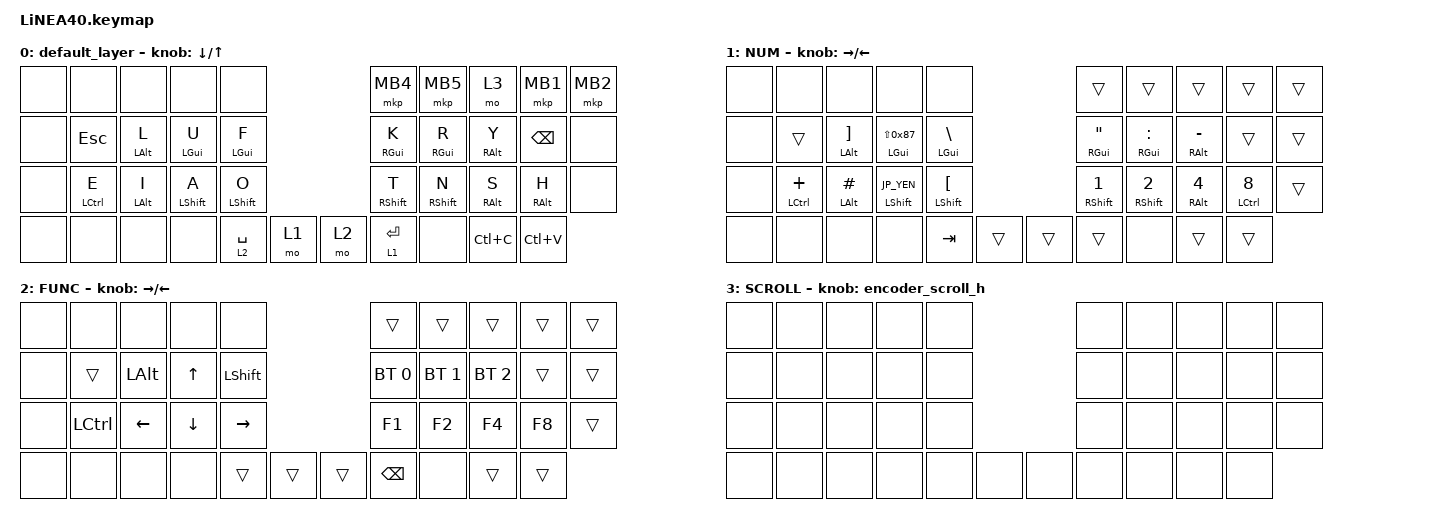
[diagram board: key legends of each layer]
// 定義を呼んでくる

#define ZMK_POINTING_DEFAULT_SCRL_VAL 5

#include <dt-bindings/zmk/mouse.h>
#include <input/processors.dtsi>
#include <behaviors.dtsi>
#include <dt-bindings/zmk/bt.h>
#include <dt-bindings/zmk/keys.h>
#include <dt-bindings/zmk/pointing.h>

#define BASE    0
#define NUM     1
#define FUNC    2
#define SCROLL  3

// US とJISの違いを定義しておく

#define JP_DQUOTE       AT                // "
#define JP_AMPERSAND    CARET             // &
#define JP_QUOTE        AMPERSAND         // '
#define JP_EQUAL        UNDER             // =
#define JP_CARET        EQUAL             // ^
#define JP_YEN          0x89              // ¥
#define JP_PLUS         COLON             // +
#define JP_TILDE        PLUS              // ~
#define JP_PIPE         LS(0x89)          // |
#define JP_AT           LEFT_BRACKET      // @
#define JP_COLON        SINGLE_QUOTE      // :
#define JP_ASTERISK     DOUBLE_QUOTES     // *
#define JP_BACKQUOTE    LEFT_BRACE        // `
#define JP_UNDERSCORE   LS(0x87)          // _
#define JP_LBRACKET     RIGHT_BRACKET     // [
#define JP_RBRACKET     BACKSLASH         // ]
#define JP_LPAREN       ASTERISK          // (
#define JP_RPAREN       LEFT_PARENTHESIS  // )
#define JP_LBRACE       RIGHT_BRACE       // {
#define JP_RBRACE       PIPE              // }
#define JP_KANA         LANGUAGE_1        // かな
#define JP_EISU         LANGUAGE_2        // 英数
#define JP_HANZEN       GRAVE             // 半角/全角

// 特殊入力の挙動を調整できる

&mt {
    flavor = "tap-preferred";
    tapping-term-ms = <225>;
    quick-tap-ms = <200>;
    require-prior-idle-ms = <150>;
};

&lt {
    flavor = "balanced";
    tapping-term-ms = <175>;
    quick-tap-ms = <200>;
};

/ {
    combos {
        compatible = "zmk,combos";

        combo_sUnlock {
            timeout-ms = <100>;
            require-prior-idle-ms = <150>;
            key-positions = <9 40>;
            bindings = <&studio_unlock>;
        };

        combo_Henkan {
            timeout-ms = <100>;
            require-prior-idle-ms = <150>;
            bindings = <&kp INT_HENKAN>;
            key-positions = <25 26 27>;
            layers = <0>;
        };

        combo_muHenkan {
            timeout-ms = <100>;
            require-prior-idle-ms = <150>;
            bindings = <&kp INT_MUHENKAN>;
            key-positions = <22 23 24>;
            layers = <0>;
        };

        combo_b {
            timeout-ms = <100>;
            require-prior-idle-ms = <150>;
            bindings = <&kp B>;
            key-positions = <28 25>;
            layers = <0>;
        };

        combo_c {
            timeout-ms = <100>;
            require-prior-idle-ms = <150>;
            bindings = <&kp C>;
            key-positions = <22 23>;
            layers = <0>;
        };

        combo_d {
            timeout-ms = <100>;
            require-prior-idle-ms = <150>;
            bindings = <&kp D>;
            key-positions = <25 27>;
            layers = <0>;
        };

        combo_g {
            timeout-ms = <100>;
            require-prior-idle-ms = <150>;
            bindings = <&kp G>;
            key-positions = <15 16>;
            layers = <0>;
        };

        combo_j {
            timeout-ms = <100>;
            require-prior-idle-ms = <150>;
            bindings = <&kp J>;
            key-positions = <28 17>;
            layers = <0>;
        };

        combo_m {
            timeout-ms = <100>;
            require-prior-idle-ms = <150>;
            bindings = <&kp M>;
            key-positions = <26 27>;
            layers = <0>;
        };

        combo_p {
            timeout-ms = <100>;
            require-prior-idle-ms = <150>;
            bindings = <&kp P>;
            key-positions = <28 15>;
            layers = <0>;
        };

        combo_q {
            timeout-ms = <100>;
            require-prior-idle-ms = <150>;
            bindings = <&kp Q>;
            key-positions = <14 13>;
            layers = <0>;
        };

        combo_v {
            timeout-ms = <100>;
            require-prior-idle-ms = <150>;
            bindings = <&kp V>;
            key-positions = <23 24>;
            layers = <0>;
        };

        combo_w {
            timeout-ms = <100>;
            require-prior-idle-ms = <150>;
            bindings = <&kp W>;
            key-positions = <17 16>;
            layers = <0>;
        };

        combo_x {
            timeout-ms = <100>;
            require-prior-idle-ms = <150>;
            bindings = <&kp X>;
            key-positions = <13 12>;
            layers = <0>;
        };

        combo_z {
            timeout-ms = <100>;
            require-prior-idle-ms = <150>;
            bindings = <&kp Z>;
            key-positions = <27 28>;
            layers = <0>;
        };

        combo_comma {
            timeout-ms = <100>;
            require-prior-idle-ms = <150>;
            bindings = <&kp COMMA>;
            key-positions = <25 37>;
            layers = <0 1>;
        };

        combo_dot {
            timeout-ms = <100>;
            require-prior-idle-ms = <150>;
            bindings = <&kp DOT>;
            key-positions = <26 37>;
            layers = <0 1>;
        };

        combo_minus {
            timeout-ms = <100>;
            require-prior-idle-ms = <150>;
            bindings = <&kp MINUS>;
            key-positions = <25 26 37>;
            layers = <0>;
        };

        combo_rbkt {
            timeout-ms = <100>;
            require-prior-idle-ms = <150>;
            bindings = <&kp JP_RBRACKET>;
            key-positions = <37 16>;
            layers = <0>;
        };

        combo_lbkt {
            timeout-ms = <100>;
            require-prior-idle-ms = <150>;
            bindings = <&kp JP_LBRACKET>;
            key-positions = <37 15>;
            layers = <0>;
        };

        combo_n3 {
            timeout-ms = <100>;
            require-prior-idle-ms = <150>;
            bindings = <&kp N3>;
            key-positions = <25 26>;
            layers = <1>;
        };

        combo_n5 {
            timeout-ms = <100>;
            require-prior-idle-ms = <150>;
            bindings = <&kp N5>;
            key-positions = <25 27>;
            layers = <1>;
        };

        combo_n6 {
            timeout-ms = <100>;
            require-prior-idle-ms = <150>;
            bindings = <&kp N6>;
            key-positions = <26 27>;
            layers = <1>;
        };

        combo_n7 {
            timeout-ms = <100>;
            require-prior-idle-ms = <150>;
            bindings = <&kp N7>;
            key-positions = <25 26 27>;
            layers = <1>;
        };

        combo_n9 {
            timeout-ms = <100>;
            require-prior-idle-ms = <150>;
            bindings = <&kp N9>;
            key-positions = <25 28>;
            layers = <1>;
        };

        combo_n0 {
            timeout-ms = <100>;
            require-prior-idle-ms = <150>;
            bindings = <&kp N0>;
            key-positions = <26 28>;
            layers = <1>;
        };

        combo_f3 {
            timeout-ms = <100>;
            require-prior-idle-ms = <150>;
            bindings = <&kp F3>;
            key-positions = <26 25>;
            layers = <2>;
        };

        combo_f5 {
            timeout-ms = <100>;
            require-prior-idle-ms = <150>;
            bindings = <&kp F5>;
            key-positions = <27 25>;
            layers = <2>;
        };

        combo_f6 {
            timeout-ms = <100>;
            require-prior-idle-ms = <150>;
            bindings = <&kp F6>;
            key-positions = <27 26>;
            layers = <2>;
        };

        combo_f7 {
            timeout-ms = <100>;
            require-prior-idle-ms = <150>;
            bindings = <&kp F7>;
            key-positions = <27 26 25>;
            layers = <2>;
        };

        combo_f9 {
            timeout-ms = <100>;
            require-prior-idle-ms = <150>;
            bindings = <&kp F9>;
            key-positions = <25 28>;
            layers = <2>;
        };

        combo_f10 {
            timeout-ms = <100>;
            require-prior-idle-ms = <150>;
            bindings = <&kp F10>;
            key-positions = <28 26>;
            layers = <2>;
        };

        combo_f11 {
            timeout-ms = <100>;
            require-prior-idle-ms = <150>;
            bindings = <&kp F11>;
            key-positions = <28 26 25>;
            layers = <2>;
        };

        combo_f12 {
            timeout-ms = <100>;
            require-prior-idle-ms = <150>;
            bindings = <&kp F12>;
            key-positions = <28 27>;
            layers = <2>;
        };

        combo_qmark {
            timeout-ms = <100>;
            require-prior-idle-ms = <150>;
            bindings = <&kp QMARK>;
            key-positions = <27 37>;
            layers = <0>;
        };

        combo_excl {
            timeout-ms = <100>;
            require-prior-idle-ms = <150>;
            bindings = <&kp EXCL>;
            key-positions = <28 37>;
            layers = <0>;
        };

        combo_caret {
            timeout-ms = <100>;
            require-prior-idle-ms = <150>;
            bindings = <&kp JP_CARET>;
            key-positions = <27 16 25>;
            layers = <0>;
        };

        combo_eqal {
            timeout-ms = <100>;
            require-prior-idle-ms = <150>;
            bindings = <&kp JP_EQUAL>;
            key-positions = <27 28 26 25>;
            layers = <1>;
        };

        combo_divid {
            timeout-ms = <100>;
            require-prior-idle-ms = <150>;
            bindings = <&kp FSLH>;
            key-positions = <15 17>;
            layers = <1>;
        };

        combo_underscore {
            timeout-ms = <100>;
            require-prior-idle-ms = <150>;
            bindings = <&kp JP_UNDERSCORE>;
            key-positions = <37 25 26 27>;
        };

        combo_colon {
            timeout-ms = <100>;
            require-prior-idle-ms = <150>;
            bindings = <&kp JP_COLON>;
            key-positions = <25 15>;
        };

        combo_semi {
            timeout-ms = <100>;
            require-prior-idle-ms = <150>;
            bindings = <&kp SEMI>;
            key-positions = <26 16>;
        };

        combo_bspc {
            timeout-ms = <100>;
            require-prior-idle-ms = <150>;
            bindings = <&kp BSPC>;
            key-positions = <34 21>;
            layers = <0>;
        };

        combo_esc {
            timeout-ms = <100>;
            require-prior-idle-ms = <150>;
            bindings = <&kp ESC>;
            key-positions = <21 12>;
        };

        combo_bt_clr {
            timeout-ms = <100>;
            require-prior-idle-ms = <150>;
            bindings = <&bt BT_CLR>;
            key-positions = <15 16 17>;
            layers = <2>;
        };

        combo_tab {
            timeout-ms = <100>;
            require-prior-idle-ms = <150>;
            bindings = <&kp TAB>;
            key-positions = <17 37>;
            layers = <0>;
        };

        combo_mb3 {
            timeout-ms = <100>;
            require-prior-idle-ms = <150>;
            bindings = <&mkp MB3>;
            key-positions = <8 9>;
        };
    };

    behaviors {
        right_click: right_click_behavior {
            compatible = "zmk,behavior-mouse-key";
            #binding-cells = <0>;
            bindings = <&mkp MB2>;
        };

        encoder_scroll_h: encoder_scroll_h {
            compatible = "zmk,behavior-sensor-rotate";
            #sensor-binding-cells = <0>;
            bindings = <&msc SCRL_RIGHT>, <&msc SCRL_LEFT>;
        };
    };

    keymap {
        compatible = "zmk,keymap";

        default_layer {
            bindings = <
&none  &none        &none       &none        &none                        &mkp MB4     &mkp MB5     &mo 3       &mkp MB1    &mkp MB2
&none  &kp ESC      &mt LALT L  &mt LGUI U   &mt LGUI F                   &mt RGUI K   &mt RGUI R   &mt RALT Y  &kp BSPC    &none
&none  &mt LCTRL E  &mt LALT I  &mt LSHFT A  &mt LSHFT O                  &mt RSHFT T  &mt RSHFT N  &mt RALT S  &mt RALT H  &none
&none  &none        &none       &none        &lt 2 SPACE  &mo 1    &mo 2  &lt 1 RET                 &none       &kp LC(C)   &kp LC(V)
            >;

            sensor-bindings = <&inc_dec_kp DOWN UP>;
        };

        NUM {
            bindings = <
&none  &none               &none                 &none                   &none                                   &trans                &trans            &trans          &trans        &trans
&none  &trans              &mt LALT JP_LBRACKET  &mt LGUI JP_UNDERSCORE  &mt LGUI JP_RBRACKET                    &mt RGUI JP_ASTERISK  &mt RGUI JP_PLUS  &mt RALT MINUS  &trans        &trans
&none  &mt LCTRL JP_TILDE  &mt LALT HASH         &mt LSHFT JP_YEN        &mt LSHFT JP_AT                         &mt RSHFT N1          &mt RSHFT N2      &mt RALT N4     &mt LCTRL N8  &trans
&none  &none               &none                 &none                   &kp TAB               &trans    &trans  &trans                                  &none           &trans        &trans
            >;

            sensor-bindings = <&inc_dec_kp RIGHT LEFT>;
        };

        FUNC {
            bindings = <
&none  &none      &none     &none     &none                        &trans        &trans        &trans        &trans  &trans
&none  &trans     &kp LALT  &kp UP    &kp LSHFT                    &bt BT_SEL 0  &bt BT_SEL 1  &bt BT_SEL 2  &trans  &trans
&none  &kp LCTRL  &kp LEFT  &kp DOWN  &kp RIGHT                    &kp F1        &kp F2        &kp F4        &kp F8  &trans
&none  &none      &none     &none     &trans     &trans    &trans  &kp BSPC                    &none         &trans  &trans
            >;

            sensor-bindings = <&inc_dec_kp RIGHT LEFT>;
        };

        SCROLL {
            bindings = <
&none  &none  &none  &none  &none                  &none  &none  &none  &none  &none
&none  &none  &none  &none  &none                  &none  &none  &none  &none  &none
&none  &none  &none  &none  &none                  &none  &none  &none  &none  &none
&none  &none  &none  &none  &none  &none    &none  &none         &none  &none  &none
            >;

            sensor-bindings = <&encoder_scroll_h>;
        };
    };
};
